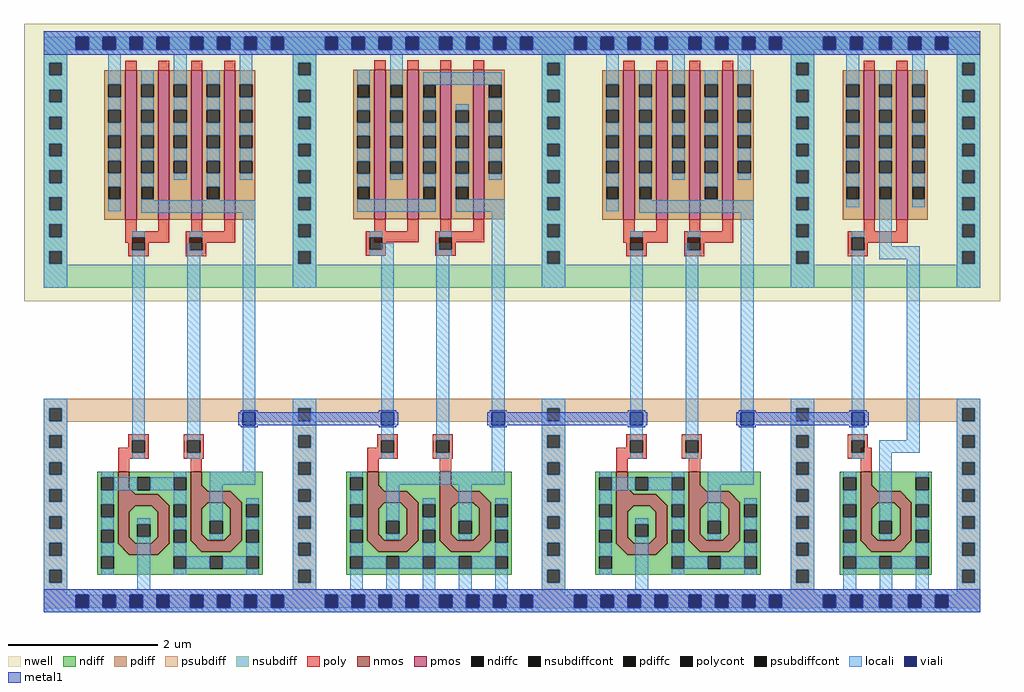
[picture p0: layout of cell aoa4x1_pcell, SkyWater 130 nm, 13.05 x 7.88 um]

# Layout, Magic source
magic
tech sky130A
magscale 1 2
<< metal1 >>
rect 1869 501 2114 535
use li1_M1_contact  li1_M1_contact_3
transform 1 0 2146 0 1 518
box -53 -33 29 33
use li1_M1_contact  li1_M1_contact_2
transform -1 0 1850 0 -1 518
box -53 -33 29 33
use invx1_pcell  invx1_pcell_0
transform 1 0 1998 0 1 0
box -84 0 528 1575
use aoai4x1_pcell  aoai4x1_pcell_0
transform 1 0 0 0 1 0
box -84 0 2082 1575
<< end >>

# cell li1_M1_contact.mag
magic
tech sky130
magscale 1 2
<< locali >>
rect -17 17 17 33
rect -17 -33 17 -17
<< viali >>
rect -17 -17 17 17
<< metal1 >>
rect -23 17 23 23
rect -53 -17 -17 17
rect 17 -17 29 17
rect -23 -23 23 -17
<< end >>

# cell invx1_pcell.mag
magic
tech sky130A
magscale 1 2
<< nwell >>
rect 84 1539 360 1575
rect 55 1505 360 1539
rect 84 832 360 1505
<< pdiffc >>
rect 117 1105 151 1139
rect 205 1105 239 1139
rect 293 1105 327 1139
<< psubdiff >>
rect 31 510 413 572
rect 31 13 55 47
rect 89 13 127 47
rect 161 13 205 47
rect 239 13 283 47
rect 317 13 355 47
rect 389 13 413 47
<< nsubdiff >>
rect 31 1505 55 1539
rect 89 1505 127 1539
rect 161 1505 205 1539
rect 239 1505 283 1539
rect 317 1505 355 1539
rect 389 1505 413 1539
rect 31 868 413 930
<< psubdiffcont >>
rect 55 13 89 47
rect 127 13 161 47
rect 205 13 239 47
rect 283 13 317 47
rect 355 13 389 47
<< nsubdiffcont >>
rect 55 1505 89 1539
rect 127 1505 161 1539
rect 205 1505 239 1539
rect 283 1505 317 1539
rect 355 1505 389 1539
<< poly >>
rect 155 409 185 441
<< locali >>
rect 31 1539 413 1554
rect 31 1505 55 1539
rect 89 1505 127 1539
rect 161 1505 205 1539
rect 239 1505 283 1539
rect 317 1505 355 1539
rect 389 1505 413 1539
rect 31 1492 413 1505
rect 117 1139 151 1157
rect 117 1083 151 1105
rect 205 1139 239 1157
rect 205 979 239 1105
rect 293 1139 327 1157
rect 293 1083 327 1105
rect 131 477 165 954
rect 205 945 313 979
rect 279 461 313 945
rect 205 427 313 461
rect 205 261 239 427
rect 109 62 143 101
rect 206 62 240 117
rect 303 62 337 101
rect 31 47 413 62
rect 31 13 55 47
rect 89 13 127 47
rect 161 13 205 47
rect 239 13 283 47
rect 317 13 355 47
rect 389 13 413 47
rect 31 0 413 13
<< viali >>
rect 55 1505 89 1539
rect 127 1505 161 1539
rect 205 1505 239 1539
rect 283 1505 317 1539
rect 355 1505 389 1539
rect 55 13 89 47
rect 127 13 161 47
rect 205 13 239 47
rect 283 13 317 47
rect 355 13 389 47
<< metal1 >>
rect 31 1539 413 1554
rect 31 1505 55 1539
rect 89 1505 127 1539
rect 161 1505 205 1539
rect 239 1505 283 1539
rect 317 1505 355 1539
rect 389 1505 413 1539
rect 31 1492 413 1505
rect 31 47 413 62
rect 31 13 55 47
rect 89 13 127 47
rect 161 13 205 47
rect 239 13 283 47
rect 317 13 355 47
rect 389 13 413 47
rect 31 0 413 13
use nmos_top  nmos_top_0
transform -1 0 345 0 1 101
box 0 0 246 308
use poly_li1_contact  poly_li1_contact_0
transform 0 1 149 -1 0 987
box -32 -28 34 26
use poly_li1_contact  poly_li1_contact_1
transform 0 -1 147 1 0 443
box -32 -28 34 26
use pmos2  pmos2_0
transform 1 0 19 0 1 1450
box 52 -461 352 42
use diff_ring_side  diff_ring_side_1
transform 1 0 0 0 1 0
box -84 0 84 1575
use diff_ring_side  diff_ring_side_0
transform 1 0 444 0 1 0
box -84 0 84 1575
<< end >>

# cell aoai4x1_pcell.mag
magic
tech sky130A
magscale 1 2
<< metal1 >>
rect 537 501 841 535
rect 1203 501 1512 535
use li1_M1_contact  li1_M1_contact_3
transform 1 0 1554 0 1 518
box -53 -33 29 33
use li1_M1_contact  li1_M1_contact_2
transform -1 0 1184 0 -1 518
box -53 -33 29 33
use nand2x1_pcell  nand2x1_pcell_1
transform 1 0 1332 0 1 0
box -84 0 750 1575
use nand2x1_pcell  nand2x1_pcell_0
transform 1 0 0 0 1 0
box -84 0 750 1575
use nor2x1_pcell  nor2x1_pcell_0
transform 1 0 666 0 1 0
box -84 0 750 1575
use li1_M1_contact  li1_M1_contact_1
transform 1 0 888 0 1 518
box -53 -33 29 33
use li1_M1_contact  li1_M1_contact_0
transform -1 0 518 0 -1 518
box -53 -33 29 33
<< end >>

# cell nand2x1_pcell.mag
magic
tech sky130A
magscale 1 2
<< nwell >>
rect 84 903 582 1575
rect 83 832 582 903
<< pdiffc >>
rect 141 1105 175 1139
rect 229 1105 263 1139
rect 405 1105 439 1139
<< psubdiff >>
rect 31 510 635 572
rect 31 13 55 47
rect 89 13 127 47
rect 161 13 199 47
rect 233 13 271 47
rect 305 13 361 47
rect 395 13 433 47
rect 467 13 505 47
rect 539 13 577 47
rect 611 13 635 47
<< nsubdiff >>
rect 31 1505 55 1539
rect 89 1505 127 1539
rect 161 1505 199 1539
rect 233 1505 271 1539
rect 305 1505 361 1539
rect 395 1505 433 1539
rect 467 1505 505 1539
rect 539 1505 577 1539
rect 611 1505 635 1539
rect 31 868 635 930
<< psubdiffcont >>
rect 55 13 89 47
rect 127 13 161 47
rect 199 13 233 47
rect 271 13 305 47
rect 361 13 395 47
rect 433 13 467 47
rect 505 13 539 47
rect 577 13 611 47
<< nsubdiffcont >>
rect 55 1505 89 1539
rect 127 1505 161 1539
rect 199 1505 233 1539
rect 271 1505 305 1539
rect 361 1505 395 1539
rect 433 1505 467 1539
rect 505 1505 539 1539
rect 577 1505 611 1539
<< poly >>
rect 168 403 198 441
rect 362 410 392 411
<< locali >>
rect 31 1539 635 1554
rect 31 1505 55 1539
rect 89 1505 127 1539
rect 161 1505 199 1539
rect 233 1505 271 1539
rect 305 1505 361 1539
rect 395 1505 433 1539
rect 467 1505 505 1539
rect 539 1505 577 1539
rect 611 1505 635 1539
rect 31 1492 635 1505
rect 141 1139 175 1157
rect 141 1073 175 1105
rect 229 1139 263 1157
rect 229 1103 263 1105
rect 405 1139 439 1157
rect 405 1103 439 1105
rect 229 1069 535 1103
rect 353 954 361 988
rect 205 461 239 954
rect 353 469 387 954
rect 353 461 357 469
rect 501 376 535 1069
rect 413 342 535 376
rect 413 261 447 342
rect 219 62 253 195
rect 31 47 635 62
rect 31 13 55 47
rect 89 13 127 47
rect 161 13 199 47
rect 233 13 271 47
rect 305 13 361 47
rect 395 13 433 47
rect 467 13 505 47
rect 539 13 577 47
rect 611 13 635 47
rect 31 0 635 13
<< viali >>
rect 55 1505 89 1539
rect 127 1505 161 1539
rect 199 1505 233 1539
rect 271 1505 305 1539
rect 361 1505 395 1539
rect 433 1505 467 1539
rect 505 1505 539 1539
rect 577 1505 611 1539
rect 55 13 89 47
rect 127 13 161 47
rect 199 13 233 47
rect 271 13 305 47
rect 361 13 395 47
rect 433 13 467 47
rect 505 13 539 47
rect 577 13 611 47
<< metal1 >>
rect 31 1539 635 1554
rect 31 1505 55 1539
rect 89 1505 127 1539
rect 161 1505 199 1539
rect 233 1505 271 1539
rect 305 1505 361 1539
rect 395 1505 433 1539
rect 467 1505 505 1539
rect 539 1505 577 1539
rect 611 1505 635 1539
rect 31 1492 635 1505
rect 31 47 635 62
rect 31 13 55 47
rect 89 13 127 47
rect 161 13 199 47
rect 233 13 271 47
rect 305 13 361 47
rect 395 13 433 47
rect 467 13 505 47
rect 539 13 577 47
rect 611 13 635 47
rect 31 0 635 13
use diff_ring_side  diff_ring_side_1
transform 1 0 0 0 1 0
box -84 0 84 1575
use nmos_bottom  nmos_bottom_0
transform -1 0 360 0 1 101
box 0 0 248 302
use poly_li1_contact  poly_li1_contact_0
transform 0 1 223 -1 0 987
box -32 -28 34 26
use poly_li1_contact  poly_li1_contact_1
transform 0 1 223 -1 0 445
box -32 -28 34 26
use pmos2  pmos2_0
transform 1 0 43 0 1 1450
box 52 -461 352 42
use poly_li1_contact  poly_li1_contact_3
transform 0 1 377 -1 0 987
box -32 -28 34 26
use poly_li1_contact  poly_li1_contact_2
transform 0 -1 369 1 0 443
box -32 -28 34 26
use pmos2  pmos2_1
transform 1 0 219 0 1 1450
box 52 -461 352 42
use nmos_top_trim1  nmos_top_trim1_0
transform -1 0 554 0 1 101
box 0 0 248 309
use diff_ring_side  diff_ring_side_0
transform 1 0 666 0 1 0
box -84 0 84 1575
<< end >>

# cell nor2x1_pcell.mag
magic
tech sky130A
magscale 1 2
<< nwell >>
rect 84 903 582 1575
rect 83 832 582 903
<< pdiffc >>
rect 141 1377 175 1411
rect 229 1377 263 1411
rect 317 1377 351 1411
rect 493 1377 527 1411
rect 141 1105 175 1139
rect 317 1105 351 1139
rect 405 1105 439 1139
<< psubdiff >>
rect 31 510 635 572
rect 31 13 55 47
rect 89 13 127 47
rect 161 13 199 47
rect 233 13 271 47
rect 305 13 361 47
rect 395 13 433 47
rect 467 13 505 47
rect 539 13 577 47
rect 611 13 635 47
<< nsubdiff >>
rect 31 1505 55 1539
rect 89 1505 127 1539
rect 161 1505 199 1539
rect 233 1505 271 1539
rect 305 1505 361 1539
rect 395 1505 433 1539
rect 467 1505 505 1539
rect 539 1505 577 1539
rect 611 1505 635 1539
rect 31 868 635 930
<< psubdiffcont >>
rect 55 13 89 47
rect 127 13 161 47
rect 199 13 233 47
rect 271 13 305 47
rect 361 13 395 47
rect 433 13 467 47
rect 505 13 539 47
rect 577 13 611 47
<< nsubdiffcont >>
rect 55 1505 89 1539
rect 127 1505 161 1539
rect 199 1505 233 1539
rect 271 1505 305 1539
rect 361 1505 395 1539
rect 433 1505 467 1539
rect 505 1505 539 1539
rect 577 1505 611 1539
<< poly >>
rect 168 403 198 441
rect 362 410 392 411
<< locali >>
rect 31 1539 635 1554
rect 31 1505 55 1539
rect 89 1505 127 1539
rect 161 1505 199 1539
rect 233 1505 271 1539
rect 305 1505 361 1539
rect 395 1505 433 1539
rect 467 1505 505 1539
rect 539 1505 577 1539
rect 611 1505 635 1539
rect 31 1492 635 1505
rect 141 1411 175 1451
rect 141 1359 175 1377
rect 229 1411 263 1492
rect 229 1359 263 1377
rect 317 1411 527 1445
rect 317 1359 351 1377
rect 493 1359 527 1377
rect 141 1139 175 1157
rect 317 1139 351 1157
rect 141 1071 351 1105
rect 405 1139 439 1157
rect 405 1071 535 1105
rect 205 461 239 988
rect 353 954 361 988
rect 353 469 387 954
rect 353 461 357 469
rect 501 376 535 1071
rect 219 342 535 376
rect 219 261 253 342
rect 413 261 447 342
rect 122 62 156 101
rect 219 62 253 117
rect 316 62 350 101
rect 413 62 447 117
rect 510 62 544 101
rect 31 47 635 62
rect 31 13 55 47
rect 89 13 127 47
rect 161 13 199 47
rect 233 13 271 47
rect 305 13 361 47
rect 395 13 433 47
rect 467 13 505 47
rect 539 13 577 47
rect 611 13 635 47
rect 31 0 635 13
<< viali >>
rect 55 1505 89 1539
rect 127 1505 161 1539
rect 199 1505 233 1539
rect 271 1505 305 1539
rect 361 1505 395 1539
rect 433 1505 467 1539
rect 505 1505 539 1539
rect 577 1505 611 1539
rect 55 13 89 47
rect 127 13 161 47
rect 199 13 233 47
rect 271 13 305 47
rect 361 13 395 47
rect 433 13 467 47
rect 505 13 539 47
rect 577 13 611 47
<< metal1 >>
rect 31 1539 635 1554
rect 31 1505 55 1539
rect 89 1505 127 1539
rect 161 1505 199 1539
rect 233 1505 271 1539
rect 305 1505 361 1539
rect 395 1505 433 1539
rect 467 1505 505 1539
rect 539 1505 577 1539
rect 611 1505 635 1539
rect 31 1492 635 1505
rect 31 47 635 62
rect 31 13 55 47
rect 89 13 127 47
rect 161 13 199 47
rect 233 13 271 47
rect 305 13 361 47
rect 395 13 433 47
rect 467 13 505 47
rect 539 13 577 47
rect 611 13 635 47
rect 31 0 635 13
use diff_ring_side  diff_ring_side_1
transform 1 0 0 0 1 0
box -84 0 84 1575
use poly_li1_contact  poly_li1_contact_0
transform 0 1 192 -1 0 988
box -32 -28 34 26
use poly_li1_contact  poly_li1_contact_1
transform 0 1 223 -1 0 445
box -32 -28 34 26
use nmos_top_trim1  nmos_top_trim1_1
transform -1 0 360 0 1 101
box 0 0 248 309
use pmos2_1  pmos2_1_0
transform 1 0 43 0 1 1450
box 52 -460 352 37
use nmos_top_trim2  nmos_top_trim2_0
transform -1 0 554 0 1 101
box 0 0 248 309
use poly_li1_contact  poly_li1_contact_3
transform 0 1 378 -1 0 988
box -32 -28 34 26
use poly_li1_contact  poly_li1_contact_2
transform 0 -1 369 1 0 443
box -32 -28 34 26
use pmos2_1  pmos2_1_1
transform 1 0 219 0 1 1450
box 52 -460 352 37
use diff_ring_side  diff_ring_side_0
transform 1 0 666 0 1 0
box -84 0 84 1575
<< end >>

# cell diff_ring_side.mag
magic
tech sky130A
magscale 1 2
<< nwell >>
rect -84 832 84 1575
<< psubdiff >>
rect -31 546 31 572
rect -31 512 -17 546
rect 17 512 31 546
rect -31 474 31 512
rect -31 440 -17 474
rect 17 440 31 474
rect -31 402 31 440
rect -31 368 -17 402
rect 17 368 31 402
rect -31 330 31 368
rect -31 296 -17 330
rect 17 296 31 330
rect -31 258 31 296
rect -31 224 -17 258
rect 17 224 31 258
rect -31 186 31 224
rect -31 152 -17 186
rect 17 152 31 186
rect -31 114 31 152
rect -31 80 -17 114
rect 17 80 31 114
rect -31 11 31 80
<< nsubdiff >>
rect -31 1470 31 1539
rect -31 1436 -17 1470
rect 17 1436 31 1470
rect -31 1398 31 1436
rect -31 1364 -17 1398
rect 17 1364 31 1398
rect -31 1326 31 1364
rect -31 1292 -17 1326
rect 17 1292 31 1326
rect -31 1254 31 1292
rect -31 1220 -17 1254
rect 17 1220 31 1254
rect -31 1182 31 1220
rect -31 1148 -17 1182
rect 17 1148 31 1182
rect -31 1110 31 1148
rect -31 1076 -17 1110
rect 17 1076 31 1110
rect -31 1038 31 1076
rect -31 1004 -17 1038
rect 17 1004 31 1038
rect -31 966 31 1004
rect -31 932 -17 966
rect 17 932 31 966
rect -31 868 31 932
<< psubdiffcont >>
rect -17 512 17 546
rect -17 440 17 474
rect -17 368 17 402
rect -17 296 17 330
rect -17 224 17 258
rect -17 152 17 186
rect -17 80 17 114
<< nsubdiffcont >>
rect -17 1436 17 1470
rect -17 1364 17 1398
rect -17 1292 17 1326
rect -17 1220 17 1254
rect -17 1148 17 1182
rect -17 1076 17 1110
rect -17 1004 17 1038
rect -17 932 17 966
<< locali >>
rect -31 1470 31 1554
rect -31 1436 -17 1470
rect 17 1436 31 1470
rect -31 1398 31 1436
rect -31 1364 -17 1398
rect 17 1364 31 1398
rect -31 1326 31 1364
rect -31 1292 -17 1326
rect 17 1292 31 1326
rect -31 1254 31 1292
rect -31 1220 -17 1254
rect 17 1220 31 1254
rect -31 1182 31 1220
rect -31 1148 -17 1182
rect 17 1148 31 1182
rect -31 1110 31 1148
rect -31 1076 -17 1110
rect 17 1076 31 1110
rect -31 1038 31 1076
rect -31 1004 -17 1038
rect 17 1004 31 1038
rect -31 966 31 1004
rect -31 932 -17 966
rect 17 932 31 966
rect -31 868 31 932
rect -31 546 31 572
rect -31 512 -17 546
rect 17 512 31 546
rect -31 474 31 512
rect -31 440 -17 474
rect 17 440 31 474
rect -31 402 31 440
rect -31 368 -17 402
rect 17 368 31 402
rect -31 330 31 368
rect -31 296 -17 330
rect 17 296 31 330
rect -31 258 31 296
rect -31 224 -17 258
rect 17 224 31 258
rect -31 186 31 224
rect -31 152 -17 186
rect 17 152 31 186
rect -31 114 31 152
rect -31 80 -17 114
rect 17 80 31 114
rect -31 0 31 80
<< metal1 >>
rect -31 1492 31 1554
rect -31 0 31 62
<< end >>

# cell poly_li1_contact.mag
magic
tech sky130A
<< poly >>
rect -16 8 17 13
rect -16 -9 -8 8
rect 9 -9 17 8
rect -16 -14 17 -9
<< polycont >>
rect -8 -9 9 8
<< locali >>
rect -16 -9 -8 8
rect 9 -9 17 8
<< end >>

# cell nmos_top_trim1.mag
magic
tech sky130A
magscale 1 2
<< nmos >>
tri 146 223 162 239 se
rect 162 223 192 276
tri 56 193 86 223 se
rect 86 193 192 223
rect 56 92 86 193
tri 86 177 102 193 nw
tri 146 177 162 193 ne
tri 86 92 102 108 sw
tri 146 92 162 108 se
rect 162 92 192 193
tri 56 62 86 92 ne
rect 86 62 162 92
tri 162 62 192 92 nw
<< ndiff >>
rect 0 239 162 276
rect 0 223 146 239
tri 146 223 162 239 nw
rect 192 260 248 276
rect 192 226 204 260
rect 238 226 248 260
rect 0 188 56 223
tri 56 193 86 223 nw
rect 0 154 10 188
rect 44 154 56 188
rect 0 120 56 154
rect 0 86 10 120
rect 44 86 56 120
tri 86 177 102 193 se
rect 102 177 146 193
tri 146 177 162 193 sw
rect 86 144 162 177
rect 86 110 107 144
rect 141 110 162 144
rect 86 108 162 110
tri 86 92 102 108 ne
rect 102 92 146 108
tri 146 92 162 108 nw
rect 192 188 248 226
rect 192 154 204 188
rect 238 154 248 188
rect 192 120 248 154
rect 0 62 56 86
tri 56 62 86 92 sw
tri 162 62 192 92 se
rect 192 86 204 120
rect 238 86 248 120
rect 192 62 248 86
rect 0 50 248 62
rect 0 16 10 50
rect 44 16 107 50
rect 141 16 204 50
rect 238 16 248 50
rect 0 0 248 16
<< ndiffc >>
rect 204 226 238 260
rect 10 154 44 188
rect 10 86 44 120
rect 107 110 141 144
rect 204 154 238 188
rect 204 86 238 120
rect 10 16 44 50
rect 107 16 141 50
rect 204 16 238 50
<< poly >>
rect 162 276 192 309
<< locali >>
rect 204 260 238 276
rect 10 188 44 204
rect 204 188 238 226
rect 10 120 44 154
rect 107 144 141 161
rect 107 94 141 110
rect 204 120 238 154
rect 10 50 44 86
rect 204 50 238 86
rect 44 16 107 50
rect 141 16 204 50
rect 10 0 44 16
rect 204 0 238 16
<< end >>

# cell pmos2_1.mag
magic
tech sky130
magscale 1 2
<< nwell >>
rect 52 -435 352 37
<< pmos >>
rect 144 -399 174 1
rect 232 -399 262 1
<< pdiff >>
rect 88 -107 144 1
rect 88 -141 98 -107
rect 132 -141 144 -107
rect 88 -175 144 -141
rect 88 -209 98 -175
rect 132 -209 144 -175
rect 88 -243 144 -209
rect 88 -277 98 -243
rect 132 -277 144 -243
rect 88 -399 144 -277
rect 174 -107 232 1
rect 174 -141 186 -107
rect 220 -141 232 -107
rect 174 -175 232 -141
rect 174 -209 186 -175
rect 220 -209 232 -175
rect 174 -243 232 -209
rect 174 -277 186 -243
rect 220 -277 232 -243
rect 174 -399 232 -277
rect 262 -107 316 1
rect 262 -141 274 -107
rect 308 -141 316 -107
rect 262 -175 316 -141
rect 262 -209 274 -175
rect 308 -209 316 -175
rect 262 -243 316 -209
rect 262 -277 274 -243
rect 308 -277 316 -243
rect 262 -399 316 -277
<< pdiffc >>
rect 98 -141 132 -107
rect 98 -209 132 -175
rect 98 -277 132 -243
rect 186 -141 220 -107
rect 186 -209 220 -175
rect 186 -277 220 -243
rect 274 -141 308 -107
rect 274 -209 308 -175
rect 274 -277 308 -243
<< poly >>
rect 144 1 174 27
rect 232 1 262 27
rect 144 -430 174 -399
rect 232 -430 262 -399
rect 144 -460 262 -430
<< locali >>
rect 98 -107 132 -91
rect 98 -175 132 -141
rect 98 -243 132 -209
rect 98 -293 132 -277
rect 186 -107 220 -91
rect 186 -175 220 -141
rect 186 -243 220 -209
rect 186 -293 220 -277
rect 274 -107 308 -91
rect 274 -175 308 -141
rect 274 -243 308 -209
rect 274 -293 308 -277
<< end >>

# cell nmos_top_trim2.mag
magic
tech sky130A
magscale 1 2
<< nmos >>
tri 146 223 162 239 se
rect 162 223 192 276
tri 56 193 86 223 se
rect 86 193 192 223
rect 56 178 87 193
tri 87 178 102 193 nw
tri 146 178 161 193 ne
rect 161 178 192 193
rect 56 92 86 178
tri 86 92 102 108 sw
tri 146 92 162 108 se
rect 162 92 192 178
tri 56 62 86 92 ne
rect 86 62 162 92
tri 162 62 192 92 nw
<< ndiff >>
rect 0 239 162 276
rect 0 223 146 239
tri 146 223 162 239 nw
rect 0 188 56 223
tri 56 193 86 223 nw
rect 0 154 10 188
rect 44 154 56 188
tri 87 178 102 193 se
rect 102 178 146 193
tri 146 178 161 193 sw
rect 192 188 248 276
rect 0 120 56 154
rect 0 86 10 120
rect 44 86 56 120
rect 86 144 162 178
rect 86 110 107 144
rect 141 110 162 144
rect 86 108 162 110
tri 86 92 102 108 ne
rect 102 92 146 108
tri 146 92 162 108 nw
rect 192 154 204 188
rect 238 154 248 188
rect 192 120 248 154
rect 0 62 56 86
tri 56 62 86 92 sw
tri 162 62 192 92 se
rect 192 86 204 120
rect 238 86 248 120
rect 192 62 248 86
rect 0 50 248 62
rect 0 16 10 50
rect 44 16 107 50
rect 141 16 204 50
rect 238 16 248 50
rect 0 0 248 16
<< ndiffc >>
rect 10 154 44 188
rect 10 86 44 120
rect 107 110 141 144
rect 204 154 238 188
rect 204 86 238 120
rect 10 16 44 50
rect 107 16 141 50
rect 204 16 238 50
<< poly >>
rect 162 276 192 309
<< locali >>
rect 10 188 44 205
rect 204 188 238 205
rect 10 120 44 154
rect 107 144 141 161
rect 107 94 141 110
rect 204 120 238 154
rect 10 50 44 86
rect 204 50 238 86
rect 44 16 107 50
rect 141 16 204 50
rect 10 0 44 16
rect 204 0 238 16
<< end >>

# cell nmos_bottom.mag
magic
tech sky130A
magscale 1 2
<< nmos >>
tri 146 215 162 231 se
rect 162 215 192 276
tri 56 185 86 215 se
rect 86 185 192 215
rect 56 84 86 185
tri 86 169 102 185 nw
tri 146 169 162 185 ne
tri 86 84 102 100 sw
tri 146 84 162 100 se
rect 162 84 192 185
tri 56 54 86 84 ne
rect 86 54 162 84
tri 162 54 192 84 nw
<< ndiff >>
rect 0 260 162 276
rect 0 226 10 260
rect 44 226 107 260
rect 141 231 162 260
rect 141 226 146 231
rect 0 215 146 226
tri 146 215 162 231 nw
rect 192 260 248 276
rect 192 226 204 260
rect 238 226 248 260
rect 0 188 56 215
rect 0 154 10 188
rect 44 154 56 188
tri 56 185 86 215 nw
rect 192 188 248 226
rect 0 120 56 154
rect 0 86 10 120
rect 44 86 56 120
rect 0 54 56 86
tri 86 169 102 185 se
rect 102 169 146 185
tri 146 169 162 185 sw
rect 86 135 162 169
rect 86 101 107 135
rect 141 101 162 135
rect 86 100 162 101
tri 86 84 102 100 ne
rect 102 84 146 100
tri 146 84 162 100 nw
rect 192 154 204 188
rect 238 154 248 188
rect 192 120 248 154
rect 192 86 204 120
rect 238 86 248 120
tri 56 54 86 84 sw
tri 162 54 192 84 se
rect 192 54 248 86
rect 0 50 248 54
rect 0 16 10 50
rect 44 16 204 50
rect 238 16 248 50
rect 0 0 248 16
<< ndiffc >>
rect 10 226 44 260
rect 107 226 141 260
rect 204 226 238 260
rect 10 154 44 188
rect 10 86 44 120
rect 107 101 141 135
rect 204 154 238 188
rect 204 86 238 120
rect 10 16 44 50
rect 204 16 238 50
<< poly >>
rect 162 276 192 302
<< locali >>
rect 10 260 44 276
rect 204 260 238 276
rect 44 226 107 260
rect 141 226 204 260
rect 10 188 44 226
rect 10 120 44 154
rect 204 188 238 226
rect 10 50 44 86
rect 107 135 141 151
rect 107 85 141 101
rect 204 120 238 154
rect 10 0 44 16
rect 204 50 238 86
rect 204 0 238 16
<< end >>

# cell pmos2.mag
magic
tech sky130
magscale 1 2
<< nwell >>
rect 52 -436 352 36
<< pmos >>
rect 144 -400 174 0
rect 232 -400 262 0
<< pdiff >>
rect 88 -38 144 0
rect 88 -72 98 -38
rect 132 -72 144 -38
rect 88 -106 144 -72
rect 88 -140 98 -106
rect 132 -140 144 -106
rect 88 -174 144 -140
rect 88 -208 98 -174
rect 132 -208 144 -174
rect 88 -242 144 -208
rect 88 -276 98 -242
rect 132 -276 144 -242
rect 88 -400 144 -276
rect 174 -38 232 0
rect 174 -72 186 -38
rect 220 -72 232 -38
rect 174 -106 232 -72
rect 174 -140 186 -106
rect 220 -140 232 -106
rect 174 -174 232 -140
rect 174 -208 186 -174
rect 220 -208 232 -174
rect 174 -242 232 -208
rect 174 -276 186 -242
rect 220 -276 232 -242
rect 174 -400 232 -276
rect 262 -38 316 0
rect 262 -72 274 -38
rect 308 -72 316 -38
rect 262 -106 316 -72
rect 262 -140 274 -106
rect 308 -140 316 -106
rect 262 -174 316 -140
rect 262 -208 274 -174
rect 308 -208 316 -174
rect 262 -242 316 -208
rect 262 -276 274 -242
rect 308 -276 316 -242
rect 262 -400 316 -276
<< pdiffc >>
rect 98 -72 132 -38
rect 98 -140 132 -106
rect 98 -208 132 -174
rect 98 -276 132 -242
rect 186 -72 220 -38
rect 186 -140 220 -106
rect 186 -208 220 -174
rect 186 -276 220 -242
rect 274 -72 308 -38
rect 274 -140 308 -106
rect 274 -208 308 -174
rect 274 -276 308 -242
<< poly >>
rect 144 0 174 26
rect 232 0 262 26
rect 144 -431 174 -400
rect 232 -431 262 -400
rect 144 -461 262 -431
<< locali >>
rect 98 -38 132 42
rect 98 -106 132 -72
rect 98 -174 132 -140
rect 98 -242 132 -208
rect 98 -293 132 -276
rect 186 -38 220 0
rect 186 -106 220 -72
rect 186 -174 220 -140
rect 186 -242 220 -208
rect 186 -293 220 -276
rect 274 -38 308 42
rect 274 -106 308 -72
rect 274 -174 308 -140
rect 274 -242 308 -208
rect 274 -293 308 -276
<< end >>

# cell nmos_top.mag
magic
tech sky130A
magscale 1 2
<< nmos >>
tri 144 223 160 239 se
rect 160 223 190 276
tri 54 193 84 223 se
rect 84 193 190 223
rect 54 92 84 193
tri 84 177 100 193 nw
tri 144 177 160 193 ne
tri 84 92 100 108 sw
tri 144 92 160 108 se
rect 160 92 190 193
tri 54 62 84 92 ne
rect 84 62 160 92
tri 160 62 190 92 nw
<< ndiff >>
rect 0 260 160 276
rect 0 226 8 260
rect 42 239 160 260
rect 42 226 144 239
rect 0 223 144 226
tri 144 223 160 239 nw
rect 190 260 246 276
rect 190 226 202 260
rect 236 226 246 260
rect 0 188 54 223
tri 54 193 84 223 nw
rect 0 154 8 188
rect 42 154 54 188
rect 0 120 54 154
rect 0 86 8 120
rect 42 86 54 120
tri 84 177 100 193 se
rect 100 177 144 193
tri 144 177 160 193 sw
rect 84 144 160 177
rect 84 110 106 144
rect 140 110 160 144
rect 84 108 160 110
tri 84 92 100 108 ne
rect 100 92 144 108
tri 144 92 160 108 nw
rect 190 188 246 226
rect 190 154 202 188
rect 236 154 246 188
rect 190 120 246 154
rect 0 62 54 86
tri 54 62 84 92 sw
tri 160 62 190 92 se
rect 190 86 202 120
rect 236 86 246 120
rect 190 62 246 86
rect 0 50 246 62
rect 0 16 8 50
rect 42 16 106 50
rect 140 16 202 50
rect 236 16 246 50
rect 0 0 246 16
<< ndiffc >>
rect 8 226 42 260
rect 202 226 236 260
rect 8 154 42 188
rect 8 86 42 120
rect 106 110 140 144
rect 202 154 236 188
rect 202 86 236 120
rect 8 16 42 50
rect 106 16 140 50
rect 202 16 236 50
<< poly >>
rect 160 276 190 308
<< locali >>
rect 8 260 42 276
rect 8 188 42 226
rect 202 260 236 276
rect 202 188 236 226
rect 8 120 42 154
rect 106 144 140 161
rect 106 94 140 110
rect 202 120 236 154
rect 8 50 42 86
rect 202 50 236 86
rect 42 16 106 50
rect 140 16 202 50
rect 8 0 42 16
rect 202 0 236 16
<< end >>
